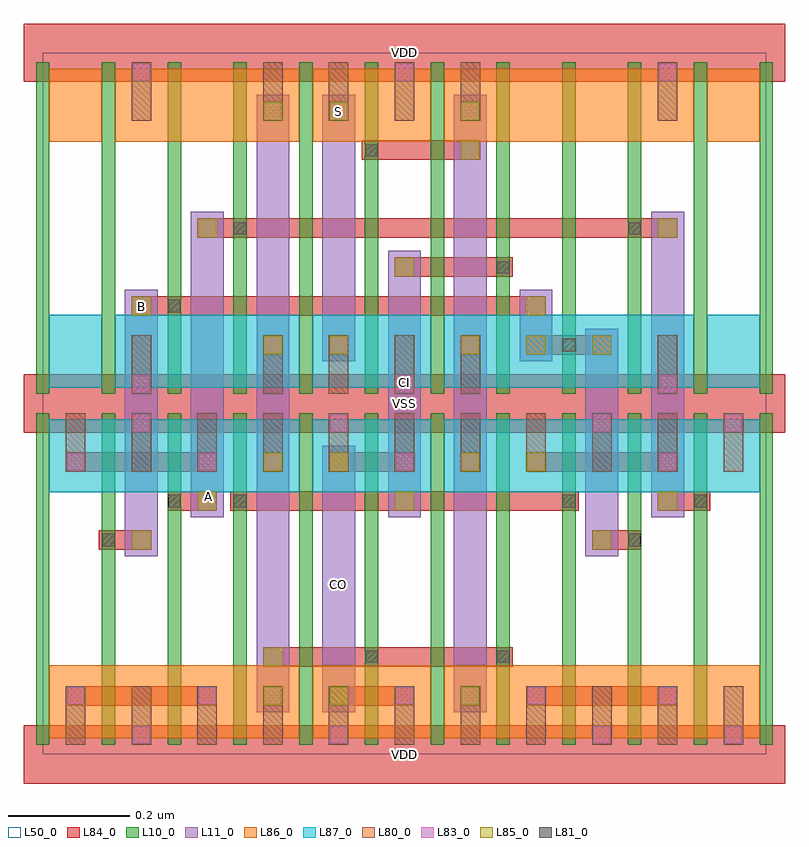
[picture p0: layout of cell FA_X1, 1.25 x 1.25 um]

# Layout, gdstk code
import gdstk
lib = gdstk.Library(unit=1e-6, precision=1e-09)
def R(c, l, rs):  # rectangles x0, y0, x1, y1
    for r in rs: c.add(gdstk.rectangle(r[:2], r[2:], *l))
def A(c, l, x, y, w, h, nx, ny, dx, dy):  # array of equal rectangles
    R(c, l, [(x+i*dx, y+j*dy, x+i*dx+w, y+j*dy+h) for i in range(nx) for j in range(ny)])
L10_0 = (10, 0)
L11_0 = (11, 0)
L50_0 = (50, 0)
L80_0 = (80, 0)
L81_0 = (81, 0)
L83_0 = (83, 0)
L84_0 = (84, 0)
L85_0 = (85, 0)
L86_0 = (86, 0)
L87_0 = (87, 0)

fa_x1 = lib.new_cell('FA_X1')
A(fa_x1, L10_0, -0.011, 0.016, 0.022, 0.544, 12, 2, 0.108, 0.576)
R(fa_x1, L11_0, [(0.351,0.069,0.405,1.083), (0.459,0.069,0.513,0.507), (0.675,0.069,0.729,1.083), (0.135,0.325,0.189,0.763), (0.891,0.325,0.945,0.699), (0.243,0.389,0.297,0.891), (0.567,0.389,0.621,0.827), (0.999,0.389,1.053,0.891), (0.459,0.645,0.513,1.083), (0.783,0.645,0.837,0.763)])
R(fa_x1, L50_0, [(0,0,1.188,1.152)])
A(fa_x1, L80_0, 0.038, 0.016, 0.032, 0.096, 11, 2, 0.108, 0.448)
A(fa_x1, L80_0, 0.362, 0.592, 0.032, 0.096, 4, 2, 0.108, 0.448)
R(fa_x1, L80_0, [(0.146,0.592,0.178,0.688), (1.01,0.592,1.042,0.688), (0.146,1.04,0.178,1.136), (1.01,1.04,1.042,1.136)])
R(fa_x1, L81_0, [(0.53,0.15,0.55,0.17), (0.746,0.15,0.766,0.17), (0.098,0.342,0.118,0.362), (0.962,0.342,0.982,0.362), (0.206,0.406,0.226,0.426), (0.314,0.406,0.334,0.426), (0.854,0.406,0.874,0.426), (1.07,0.406,1.09,0.426), (0.854,0.662,0.874,0.682), (0.206,0.726,0.226,0.746), (0.746,0.79,0.766,0.81), (0.314,0.854,0.334,0.874), (0.962,0.854,0.982,0.874), (0.53,0.982,0.55,1.002)])
A(fa_x1, L83_0, 0.58, 0.082, 0.028, 0.028, 3, 2, 0.108, 0.384)
A(fa_x1, L83_0, 0.148, 0.594, 0.028, 0.028, 3, 2, 0.432, 0.512)
R(fa_x1, L83_0, [(0.148,0.018,0.176,0.046), (0.472,0.018,0.5,0.046), (0.904,0.018,0.932,0.046), (1.12,0.018,1.148,0.046), (0.04,0.082,0.068,0.11), (0.256,0.082,0.284,0.11), (0.364,0.082,0.392,0.11), (1.012,0.082,1.04,0.11), (0.04,0.466,0.068,0.494), (0.256,0.466,0.284,0.494), (0.364,0.466,0.392,0.494), (1.012,0.466,1.04,0.494), (0.148,0.53,0.176,0.558), (0.472,0.53,0.5,0.558), (0.904,0.53,0.932,0.558), (1.12,0.53,1.148,0.558), (0.364,0.658,0.392,0.686), (0.472,0.658,0.5,0.686), (0.688,0.658,0.716,0.686), (0.364,1.042,0.392,1.07), (0.472,1.042,0.5,1.07), (0.688,1.042,0.716,1.07)])
A(fa_x1, L84_0, -0.031, -0.048, 1.25, 0.096, 1, 3, 0, 0.576)
R(fa_x1, L84_0, [(0.038,0.08,0.286,0.112), (0.362,0.08,0.394,0.112), (0.47,0.08,0.61,0.112), (0.686,0.08,0.718,0.112), (0.794,0.08,1.042,0.112), (0.362,0.144,0.772,0.176), (0.092,0.336,0.178,0.368), (0.902,0.336,0.983,0.368), (0.205,0.4,0.286,0.432), (0.308,0.4,0.88,0.432), (1.01,0.4,1.096,0.432), (0.038,0.464,0.286,0.496), (0.254,0.464,0.286,0.496), (0.362,0.464,0.394,0.496), (0.47,0.464,0.61,0.496), (0.686,0.464,0.718,0.496), (0.794,0.464,1.042,0.496), (0.362,0.656,0.394,0.688), (0.47,0.656,0.502,0.688), (0.686,0.656,0.718,0.688), (0.794,0.656,0.934,0.688), (0.146,0.72,0.826,0.752), (0.578,0.784,0.772,0.816), (0.254,0.848,1.042,0.88), (0.524,0.976,0.718,1.008), (0.362,1.04,0.394,1.072), (0.47,1.04,0.502,1.072), (0.686,1.04,0.718,1.072)])
A(fa_x1, L85_0, 0.687, 0.657, 0.03, 0.03, 3, 1, 0.108, 0)
R(fa_x1, L85_0, [(0.363,0.081,0.393,0.111), (0.471,0.081,0.501,0.111), (0.687,0.081,0.717,0.111), (0.363,0.145,0.393,0.175), (0.147,0.337,0.177,0.367), (0.903,0.337,0.933,0.367), (0.255,0.401,0.285,0.431), (0.579,0.401,0.609,0.431), (1.011,0.401,1.041,0.431), (0.363,0.465,0.393,0.495), (0.471,0.465,0.501,0.495), (0.687,0.465,0.717,0.495), (0.795,0.465,0.825,0.495), (0.363,0.657,0.393,0.687), (0.471,0.657,0.501,0.687), (0.147,0.721,0.177,0.751), (0.795,0.721,0.825,0.751), (0.579,0.785,0.609,0.815), (0.255,0.849,0.285,0.879), (1.011,0.849,1.041,0.879), (0.687,0.977,0.717,1.007), (0.363,1.041,0.393,1.071), (0.471,1.041,0.501,1.071), (0.687,1.041,0.717,1.071)])
R(fa_x1, L86_0, [(0.011,0.026,0.421,0.146), (0.443,0.026,0.637,0.146), (0.659,0.026,1.177,0.146), (0.011,1.006,0.097,1.126), (0.119,1.006,0.421,1.126), (0.443,1.006,0.637,1.126), (0.659,1.006,1.069,1.126), (1.091,1.006,1.177,1.126)])
R(fa_x1, L87_0, [(0.011,0.43,0.421,0.55), (0.443,0.43,0.637,0.55), (0.659,0.43,1.177,0.55), (0.011,0.602,0.097,0.722), (0.119,0.602,0.421,0.722), (0.443,0.602,0.637,0.722), (0.659,0.602,1.069,0.722), (1.091,0.602,1.177,0.722)])
fa_x1.add(gdstk.Label('VDD', (0.594,1.152), layer=88, texttype=0))
fa_x1.add(gdstk.Label('VDD', (0.594,0), layer=88, texttype=0))
fa_x1.add(gdstk.Label('VSS', (0.594,0.576), layer=88, texttype=0))
fa_x1.add(gdstk.Label('B', (0.162,0.736), layer=31, texttype=0))
fa_x1.add(gdstk.Label('S', (0.486,1.056), layer=31, texttype=0))
fa_x1.add(gdstk.Label('A', (0.272,0.423), layer=31, texttype=0))
fa_x1.add(gdstk.Label('CI', (0.594,0.61), layer=31, texttype=0))
fa_x1.add(gdstk.Label('CO', (0.486,0.278), layer=31, texttype=0))

lib.write_gds('FA_X1.gds')
